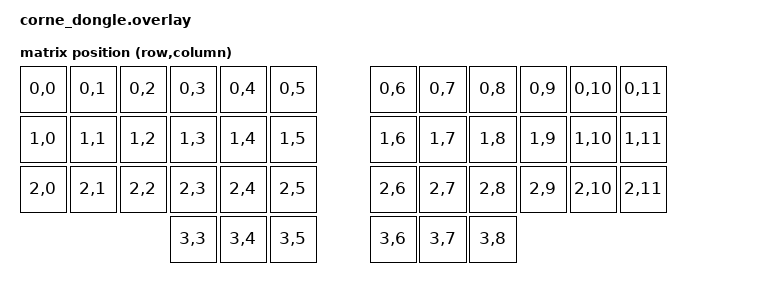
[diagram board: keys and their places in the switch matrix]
#include <dt-bindings/zmk/matrix_transform.h>
#include <layouts/foostan/corne/6column.dtsi>

/ {
  chosen {
    zmk,kscan = &mock_kscan;
    zmk,matrix_transform = &default_transform;
    zmk,physical-layout = &foostan_corne_6col_layout;
  };

  mock_kscan: mock_kscan_0 {
    compatible = "zmk,kscan-mock";
    columns = <0>;
    rows = <0>;
    events = <0>;
  };

  default_transform: keymap_transform_0 {
    compatible = "zmk,matrix-transform";
    columns = <12>;
    rows = <4>;

    // Corne 3x6+3 layout
    // ┌───┬───┬───┬───┬───┬───┐ ┌───┬───┬───┬───┬───┬───┐
    // │ 0 │ 1 │ 2 │ 3 │ 4 │ 5 │ │ 6 │ 7 │ 8 │ 9 │10 │11 │
    // ├───┼───┼───┼───┼───┼───┤ ├───┼───┼───┼───┼───┼───┤
    // │12 │13 │14 │15 │16 │17 │ │18 │19 │20 │21 │22 │23 │
    // ├───┼───┼───┼───┼───┼───┤ ├───┼───┼───┼───┼───┼───┤
    // │24 │25 │26 │27 │28 │29 │ │30 │31 │32 │33 │34 │35 │
    // └───┴───┴───┼───┼───┼───┤ ├───┼───┼───┼───┴───┴───┘
    // │36 │37 │38 │ │39 │40 │41 │
    // └───┴───┴───┘ └───┴───┴───┘

    map = <
      RC(0,0) RC(0,1) RC(0,2) RC(0,3) RC(0,4) RC(0,5) RC(0,6) RC(0,7) RC(0,8) RC(0,9) RC(0,10) RC(0,11)
      RC(1,0) RC(1,1) RC(1,2) RC(1,3) RC(1,4) RC(1,5) RC(1,6) RC(1,7) RC(1,8) RC(1,9) RC(1,10) RC(1,11)
      RC(2,0) RC(2,1) RC(2,2) RC(2,3) RC(2,4) RC(2,5) RC(2,6) RC(2,7) RC(2,8) RC(2,9) RC(2,10) RC(2,11)
      RC(3,3) RC(3,4) RC(3,5) RC(3,6) RC(3,7) RC(3,8)
    >;
  };
};

&foostan_corne_6col_layout {
  transform = <&default_transform>;
};
